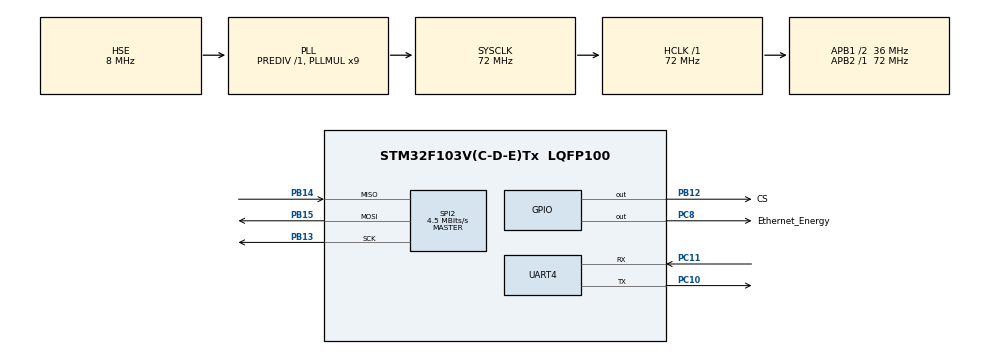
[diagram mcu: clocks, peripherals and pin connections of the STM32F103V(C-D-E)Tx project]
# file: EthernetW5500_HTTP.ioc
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Mcu.Family=STM32F1
Mcu.Name=STM32F103V(C-D-E)Tx
Mcu.Package=LQFP100
NVIC.PriorityGroup=NVIC_PRIORITYGROUP_4
NVIC.TIM6_IRQn=true\:0\:0\:false\:false\:true\:false\:true
NVIC.TimeBase=TIM6_IRQn
NVIC.TimeBaseIP=TIM6
OSC_IN.Mode=HSE-External-Oscillator
OSC_IN.Signal=RCC_OSC_IN
OSC_OUT.Mode=HSE-External-Oscillator
OSC_OUT.Signal=RCC_OSC_OUT
PA13.Mode=Serial_Wire
PA13.Signal=SYS_JTMS-SWDIO
PA14.Mode=Serial_Wire
PA14.Signal=SYS_JTCK-SWCLK
PB12.GPIO_Label=CS
PB12.Signal=GPIO_Output
PB13.Mode=Full_Duplex_Master
PB13.Signal=SPI2_SCK
PB14.Mode=Full_Duplex_Master
PB14.Signal=SPI2_MISO
PB15.Mode=Full_Duplex_Master
PB15.Signal=SPI2_MOSI
PC10.Mode=Asynchronous
PC10.Signal=UART4_TX
PC11.Mode=Asynchronous
PC11.Signal=UART4_RX
PC8.GPIO_Label=Ethernet_Energy
PC8.Signal=GPIO_Output
ProjectManager.HeapSize=0x200
ProjectManager.StackSize=0x400
ProjectManager.TargetToolchain=STM32CubeIDE
RCC.AHBFreq_Value=72000000
RCC.APB1CLKDivider=RCC_HCLK_DIV2
RCC.APB1Freq_Value=36000000
RCC.APB1TimFreq_Value=72000000
RCC.APB2Freq_Value=72000000
RCC.APB2TimFreq_Value=72000000
RCC.HCLKFreq_Value=72000000
RCC.PLLMUL=RCC_PLL_MUL9
RCC.PLLSourceVirtual=RCC_PLLSOURCE_HSE
RCC.SYSCLKFreq_VALUE=72000000
RCC.SYSCLKSource=RCC_SYSCLKSOURCE_PLLCLK
RCC.USBFreq_Value=72000000
SPI2.BaudRatePrescaler=SPI_BAUDRATEPRESCALER_8
SPI2.CalculateBaudRate=4.5 MBits/s
SPI2.Direction=SPI_DIRECTION_2LINES
SPI2.Mode=SPI_MODE_MASTER
SPI2.VirtualType=VM_MASTER
UART4.VirtualMode=Asynchronous
VP_SYS_VS_tim6.Mode=TIM6
board=custom

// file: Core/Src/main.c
/* USER CODE BEGIN Header */
/**
  ******************************************************************************
  * @file           : main.c
  * @brief          : Main program body
  ******************************************************************************
  * @attention
  *
  * <h2><center>&copy; Copyright (c) 2021 STMicroelectronics.
  * All rights reserved.</center></h2>
  *
  * This software component is licensed by ST under BSD 3-Clause license,
  * the "License"; You may not use this file except in compliance with the
  * License. You may obtain a copy of the License at:
  *                        opensource.org/licenses/BSD-3-Clause
  *
  ******************************************************************************
  */
/* USER CODE END Header */
#include "main.h"

/* USER CODE BEGIN Includes */
#include "APP_Web.h"

/* USER CODE END Includes */

SPI_HandleTypeDef hspi2;

UART_HandleTypeDef huart4;

/* USER CODE BEGIN PV */
uint16_t TickWeb;

/* USER CODE END PV */

void SystemClock_Config(void);
static void MX_GPIO_Init(void);
static void MX_SPI2_Init(void);
static void MX_UART4_Init(void);

/* USER CODE BEGIN 0 */
#ifdef __GNUC__
/* With GCC/RAISONANCE, small printf (option LD Linker->Libraries->Small printf
   set to 'Yes') calls __io_putchar() */
#define PUTCHAR_PROTOTYPE int __io_putchar(int ch)
#else
#define PUTCHAR_PROTOTYPE int fputc(int ch, FILE *f)
#endif /* __GNUC__ */
PUTCHAR_PROTOTYPE
{
  /* Place your implementation of fputc here */
  /* e.g. write a character to the USART1 and Loop until the end of transmission */
  HAL_UART_Transmit(&huart4, (uint8_t *)&ch, 1, 0xFFFF);
  return ch;
}
/* USER CODE END 0 */

int main(void)
{

  /* MCU Configuration--------------------------------------------------------*/

  /* Reset of all peripherals, Initializes the Flash interface and the Systick. */
  HAL_Init();

  /* Configure the system clock */
  SystemClock_Config();

  /* Initialize all configured peripherals */
  MX_GPIO_Init();
  MX_SPI2_Init();
  MX_UART4_Init();
  /* USER CODE BEGIN 2 */
  //POWER ON ETHERNET
  HAL_GPIO_WritePin(GPIOC, GPIO_PIN_8, GPIO_PIN_SET);
  //DELAY TO CONVERGE NETWORK
  HAL_Delay(15000);
  //SET IP AND MORE
  Init_WebAPP();
  /* USER CODE END 2 */

  /* Infinite loop */
  while (1)
  {

    /* USER CODE BEGIN 3 */
	  Task_WebAPP();
	  HAL_Delay(100);
  }
  /* USER CODE END 3 */
}

void SystemClock_Config(void)
{
  RCC_OscInitTypeDef RCC_OscInitStruct = {0};
  RCC_ClkInitTypeDef RCC_ClkInitStruct = {0};

  /** Initializes the RCC Oscillators according to the specified parameters
  * in the RCC_OscInitTypeDef structure.
  */
  RCC_OscInitStruct.OscillatorType = RCC_OSCILLATORTYPE_HSE;
  RCC_OscInitStruct.HSEState = RCC_HSE_ON;
  RCC_OscInitStruct.HSEPredivValue = RCC_HSE_PREDIV_DIV1;
  RCC_OscInitStruct.HSIState = RCC_HSI_ON;
  RCC_OscInitStruct.PLL.PLLState = RCC_PLL_ON;
  RCC_OscInitStruct.PLL.PLLSource = RCC_PLLSOURCE_HSE;
  RCC_OscInitStruct.PLL.PLLMUL = RCC_PLL_MUL9;
  if (HAL_RCC_OscConfig(&RCC_OscInitStruct) != HAL_OK)
  {
    Error_Handler();
  }
  /** Initializes the CPU, AHB and APB buses clocks
  */
  RCC_ClkInitStruct.ClockType = RCC_CLOCKTYPE_HCLK|RCC_CLOCKTYPE_SYSCLK
                              |RCC_CLOCKTYPE_PCLK1|RCC_CLOCKTYPE_PCLK2;
  RCC_ClkInitStruct.SYSCLKSource = RCC_SYSCLKSOURCE_PLLCLK;
  RCC_ClkInitStruct.AHBCLKDivider = RCC_SYSCLK_DIV1;
  RCC_ClkInitStruct.APB1CLKDivider = RCC_HCLK_DIV2;
  RCC_ClkInitStruct.APB2CLKDivider = RCC_HCLK_DIV1;

  if (HAL_RCC_ClockConfig(&RCC_ClkInitStruct, FLASH_LATENCY_2) != HAL_OK)
  {
    Error_Handler();
  }
}

static void MX_SPI2_Init(void)
{

  /* SPI2 parameter configuration*/
  hspi2.Instance = SPI2;
  hspi2.Init.Mode = SPI_MODE_MASTER;
  hspi2.Init.Direction = SPI_DIRECTION_2LINES;
  hspi2.Init.DataSize = SPI_DATASIZE_8BIT;
  hspi2.Init.CLKPolarity = SPI_POLARITY_LOW;
  hspi2.Init.CLKPhase = SPI_PHASE_1EDGE;
  hspi2.Init.NSS = SPI_NSS_SOFT;
  hspi2.Init.BaudRatePrescaler = SPI_BAUDRATEPRESCALER_8;
  hspi2.Init.FirstBit = SPI_FIRSTBIT_MSB;
  hspi2.Init.TIMode = SPI_TIMODE_DISABLE;
  hspi2.Init.CRCCalculation = SPI_CRCCALCULATION_DISABLE;
  hspi2.Init.CRCPolynomial = 10;
  if (HAL_SPI_Init(&hspi2) != HAL_OK)
  {
    Error_Handler();
  }

}

static void MX_UART4_Init(void)
{

  huart4.Instance = UART4;
  huart4.Init.BaudRate = 115200;
  huart4.Init.WordLength = UART_WORDLENGTH_8B;
  huart4.Init.StopBits = UART_STOPBITS_1;
  huart4.Init.Parity = UART_PARITY_NONE;
  huart4.Init.Mode = UART_MODE_TX_RX;
  huart4.Init.HwFlowCtl = UART_HWCONTROL_NONE;
  huart4.Init.OverSampling = UART_OVERSAMPLING_16;
  if (HAL_UART_Init(&huart4) != HAL_OK)
  {
    Error_Handler();
  }

}

static void MX_GPIO_Init(void)
{
  GPIO_InitTypeDef GPIO_InitStruct = {0};

  /* GPIO Ports Clock Enable */
  __HAL_RCC_GPIOB_CLK_ENABLE();
  __HAL_RCC_GPIOC_CLK_ENABLE();
  __HAL_RCC_GPIOA_CLK_ENABLE();

  /*Configure GPIO pin Output Level */
  HAL_GPIO_WritePin(CS_GPIO_Port, CS_Pin, GPIO_PIN_RESET);

  /*Configure GPIO pin Output Level */
  HAL_GPIO_WritePin(Ethernet_Energy_GPIO_Port, Ethernet_Energy_Pin, GPIO_PIN_RESET);

  /*Configure GPIO pin : CS_Pin */
  GPIO_InitStruct.Pin = CS_Pin;
  GPIO_InitStruct.Mode = GPIO_MODE_OUTPUT_PP;
  GPIO_InitStruct.Pull = GPIO_NOPULL;
  GPIO_InitStruct.Speed = GPIO_SPEED_FREQ_LOW;
  HAL_GPIO_Init(CS_GPIO_Port, &GPIO_InitStruct);

  /*Configure GPIO pin : Ethernet_Energy_Pin */
  GPIO_InitStruct.Pin = Ethernet_Energy_Pin;
  GPIO_InitStruct.Mode = GPIO_MODE_OUTPUT_PP;
  GPIO_InitStruct.Pull = GPIO_NOPULL;
  GPIO_InitStruct.Speed = GPIO_SPEED_FREQ_LOW;
  HAL_GPIO_Init(Ethernet_Energy_GPIO_Port, &GPIO_InitStruct);

}

 /**
  * @brief  Period elapsed callback in non blocking mode
  * @note   This function is called  when TIM6 interrupt took place, inside
  * HAL_TIM_IRQHandler(). It makes a direct call to HAL_IncTick() to increment
  * a global variable "uwTick" used as application time base.
  * @param  htim : TIM handle
  * @retval None
  */
void HAL_TIM_PeriodElapsedCallback(TIM_HandleTypeDef *htim)
{
  if (htim->Instance == TIM6) {
	TickWeb++;
	if (TickWeb==1000){
	  TickWeb=0;
	  httpServer_time_handler();
	}
    HAL_IncTick();
  }
}

void Error_Handler(void)
{
  __disable_irq();
  while (1)
  {
  }
}

/************************ (C) COPYRIGHT STMicroelectronics *****END OF FILE****/
